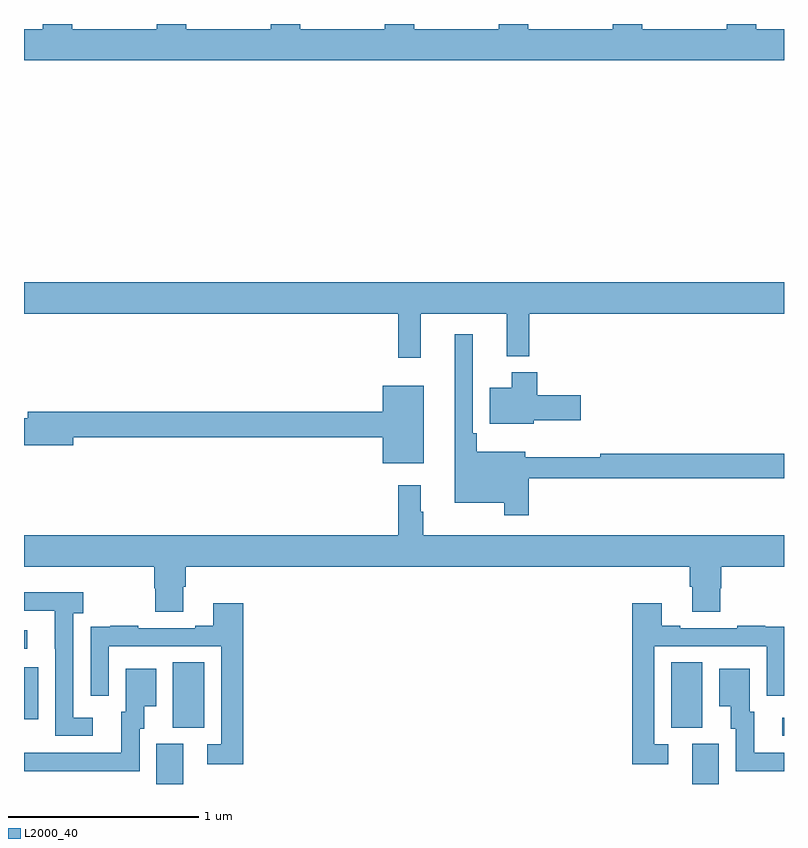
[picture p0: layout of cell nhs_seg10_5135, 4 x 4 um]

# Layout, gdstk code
import gdstk
lib = gdstk.Library(unit=1e-6, precision=1e-09)
def R(c, l, rs):  # rectangles x0, y0, x1, y1
    for r in rs: c.add(gdstk.rectangle(r[:2], r[2:], *l))
def P(c, l, *ps):  # polygons
    for p in ps: c.add(gdstk.Polygon(p, *l))
L2000_40 = (2000, 40)

nhs_seg10_5135 = lib.new_cell('nhs_seg10_5135')
R(nhs_seg10_5135, L2000_40, [(409.697,1304.5,409.837,1304.712), (412.517,1304.5,412.657,1304.712), (412.992,1304.754,413,1304.85), (409.784,1304.797,409.948,1305.14), (412.406,1304.797,412.57,1305.14), (409,1304.841,409.075,1305.115), (409,1305.213,409.018,1305.309)])
P(nhs_seg10_5135, L2000_40, [(413,1308.472),(412.854,1308.472),(412.854,1308.5),(412.699,1308.5),(412.699,1308.472),(412.254,1308.472),(412.254,1308.5),(412.099,1308.5),(412.099,1308.472),(411.654,1308.472),(411.654,1308.5),(411.499,1308.5),(411.499,1308.472),(411.054,1308.472),(411.054,1308.5),(410.899,1308.5),(410.899,1308.472),(410.454,1308.472),(410.454,1308.5),(410.299,1308.5),(410.299,1308.472),(409.854,1308.472),(409.854,1308.5),(409.699,1308.5),(409.699,1308.472),(409.254,1308.472),(409.254,1308.5),(409.099,1308.5),(409.099,1308.472),(409,1308.472),(409,1308.308),(413,1308.308)],
  [(409,1306.976),(410.971,1306.976),(410.971,1306.743),(411.089,1306.743),(411.089,1306.976),(411.542,1306.976),(411.542,1306.751),(411.659,1306.751),(411.659,1306.976),(413,1306.976),(413,1307.14),(409,1307.14)],
  [(411.656,1306.11),(413,1306.11),(413,1306.238),(412.033,1306.238),(412.033,1306.22),(411.637,1306.22),(411.637,1306.249),(411.383,1306.249),(411.383,1306.345),(411.363,1306.345),(411.363,1306.867),(411.266,1306.867),(411.266,1305.98),(411.528,1305.98),(411.528,1305.915),(411.656,1305.915)],
  [(411.684,1306.415),(411.931,1306.415),(411.931,1306.545),(411.701,1306.545),(411.701,1306.666),(411.566,1306.666),(411.566,1306.585),(411.452,1306.585),(411.452,1306.397),(411.684,1306.397)],
  [(411.103,1306.597),(410.888,1306.597),(410.888,1306.46),(409.019,1306.46),(409.019,1306.424),(409,1306.424),(409,1306.282),(409.258,1306.282),(409.258,1306.324),(410.888,1306.324),(410.888,1306.187),(411.103,1306.187)],
  [(409.837,1305.538),(409.85,1305.538),(409.85,1305.644),(412.505,1305.644),(412.505,1305.538),(412.517,1305.538),(412.517,1305.406),(412.665,1305.406),(412.665,1305.531),(412.67,1305.531),(412.67,1305.644),(413,1305.644),(413,1305.808),(411.1,1305.808),(411.1,1305.932),(411.088,1305.932),(411.088,1306.072),(410.971,1306.072),(410.971,1305.808),(409,1305.808),(409,1305.644),(409.685,1305.644),(409.685,1305.531),(409.69,1305.531),(409.69,1305.406),(409.837,1305.406)],
  [(409.363,1304.85),(409.26,1304.85),(409.26,1305.398),(409.312,1305.398),(409.312,1305.508),(409,1305.508),(409,1305.411),(409.163,1305.411),(409.163,1305.211),(409.164,1305.211),(409.164,1304.754),(409.363,1304.754)],
  [(410.153,1305.451),(409.997,1305.451),(409.997,1305.334),(409.901,1305.334),(409.901,1305.321),(409.601,1305.321),(409.601,1305.334),(409.453,1305.334),(409.453,1305.327),(409.351,1305.327),(409.351,1305.218),(409.35,1305.218),(409.35,1304.964),(409.446,1304.964),(409.446,1305.225),(410.037,1305.225),(410.037,1304.709),(409.965,1304.709),(409.965,1304.604),(410.153,1304.604)],
  [(412.39,1304.709),(412.317,1304.709),(412.317,1305.225),(412.908,1305.225),(412.908,1304.964),(413,1304.964),(413,1305.327),(412.901,1305.327),(412.901,1305.334),(412.753,1305.334),(412.753,1305.321),(412.453,1305.321),(412.453,1305.334),(412.357,1305.334),(412.357,1305.451),(412.201,1305.451),(412.201,1304.604),(412.39,1304.604)],
  [(413,1304.664),(412.843,1304.664),(412.843,1304.88),(412.819,1304.88),(412.819,1305.106),(412.658,1305.106),(412.658,1304.909),(412.721,1304.909),(412.721,1304.79),(412.746,1304.79),(412.746,1304.568),(413,1304.568)],
  [(409.608,1304.79),(409.633,1304.79),(409.633,1304.909),(409.696,1304.909),(409.696,1305.106),(409.535,1305.106),(409.535,1304.88),(409.511,1304.88),(409.511,1304.664),(409.027,1304.664),(409.027,1304.665),(409,1304.665),(409,1304.568),(409.608,1304.568)])

lib.write_gds('nhs_seg10_5135.gds')
